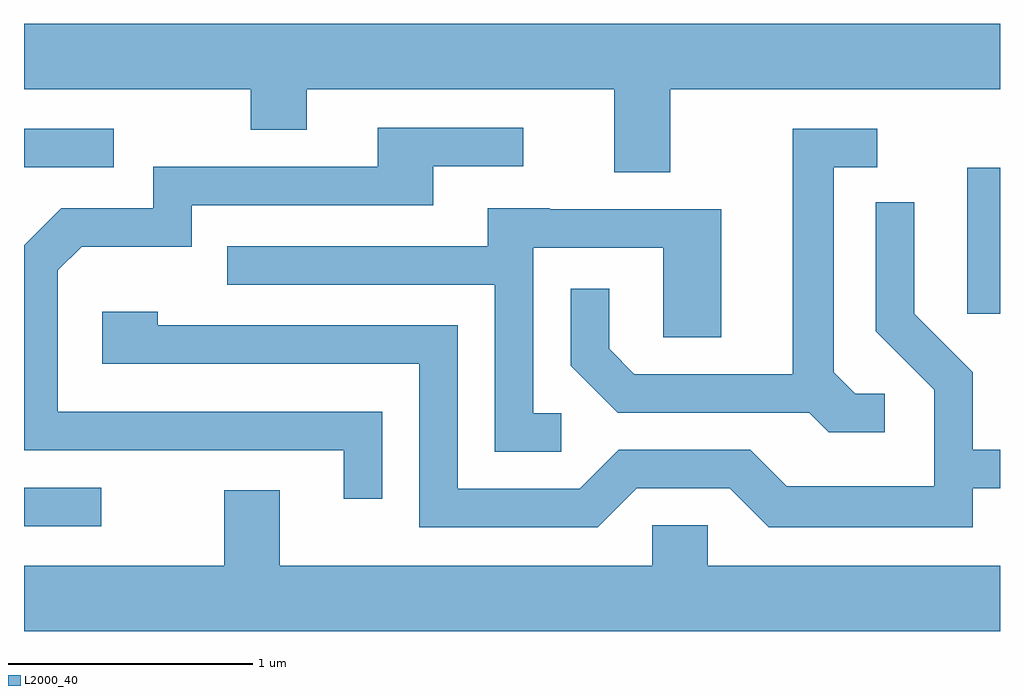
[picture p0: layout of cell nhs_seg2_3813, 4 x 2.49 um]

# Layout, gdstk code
import gdstk
lib = gdstk.Library(unit=1e-6, precision=1e-09)
def R(c, l, rs):  # rectangles x0, y0, x1, y1
    for r in rs: c.add(gdstk.rectangle(r[:2], r[2:], *l))
def P(c, l, *ps):  # polygons
    for p in ps: c.add(gdstk.Polygon(p, *l))
L2000_40 = (2000, 40)

nhs_seg2_3813 = lib.new_cell('nhs_seg2_3813')
R(nhs_seg2_3813, L2000_40, [(297.611,1008.786,297.928,1008.944), (301.476,1009.656,301.611,1010.254), (297.611,1010.256,297.978,1010.414)])
P(nhs_seg2_3813, L2000_40, [(297.611,1010.576),(298.541,1010.576),(298.541,1010.411),(298.769,1010.411),(298.769,1010.576),(300.031,1010.576),(300.031,1010.236),(300.259,1010.236),(300.259,1010.576),(301.611,1010.576),(301.611,1010.844),(297.611,1010.844)],
  [(299.079,1009.254),(297.749,1009.254),(297.749,1009.834),(297.847,1009.931),(298.299,1009.931),(298.299,1010.101),(299.289,1010.101),(299.289,1010.261),(299.658,1010.261),(299.658,1010.419),(299.061,1010.419),(299.061,1010.259),(298.141,1010.259),(298.141,1010.089),(297.764,1010.089),(297.611,1009.937),(297.611,1009.096),(298.921,1009.096),(298.921,1008.898),(299.079,1008.898)],
  [(301.138,1009.329),(301.017,1009.329),(300.929,1009.417),(300.929,1010.256),(301.108,1010.256),(301.108,1010.414),(300.761,1010.414),(300.761,1009.409),(300.112,1009.409),(300.009,1009.512),(300.009,1009.758),(299.851,1009.758),(299.851,1009.444),(300.044,1009.251),(300.829,1009.251),(300.909,1009.171),(301.138,1009.171)],
  [(300.122,1008.941),(300.504,1008.941),(300.664,1008.781),(301.499,1008.781),(301.499,1008.941),(301.611,1008.941),(301.611,1009.099),(301.499,1009.099),(301.499,1009.417),(301.259,1009.657),(301.259,1010.113),(301.101,1010.113),(301.101,1009.584),(301.341,1009.344),(301.341,1008.949),(300.737,1008.949),(300.587,1009.099),(300.049,1009.099),(299.889,1008.939),(299.389,1008.939),(299.389,1009.609),(298.159,1009.609),(298.159,1009.664),(297.931,1009.664),(297.931,1009.451),(299.231,1009.451),(299.231,1008.781),(299.962,1008.781)],
  [(299.813,1009.249),(299.699,1009.249),(299.699,1009.926),(300.231,1009.926),(300.231,1009.561),(300.469,1009.561),(300.469,1010.084),(299.765,1010.084),(299.765,1010.089),(299.511,1010.089),(299.511,1009.934),(298.443,1009.934),(298.443,1009.776),(299.541,1009.776),(299.541,1009.091),(299.813,1009.091)],
  [(301.611,1008.624),(300.414,1008.624),(300.414,1008.789),(300.186,1008.789),(300.186,1008.624),(298.659,1008.624),(298.659,1008.934),(298.431,1008.934),(298.431,1008.624),(297.611,1008.624),(297.611,1008.356),(301.611,1008.356)])

lib.write_gds('nhs_seg2_3813.gds')
